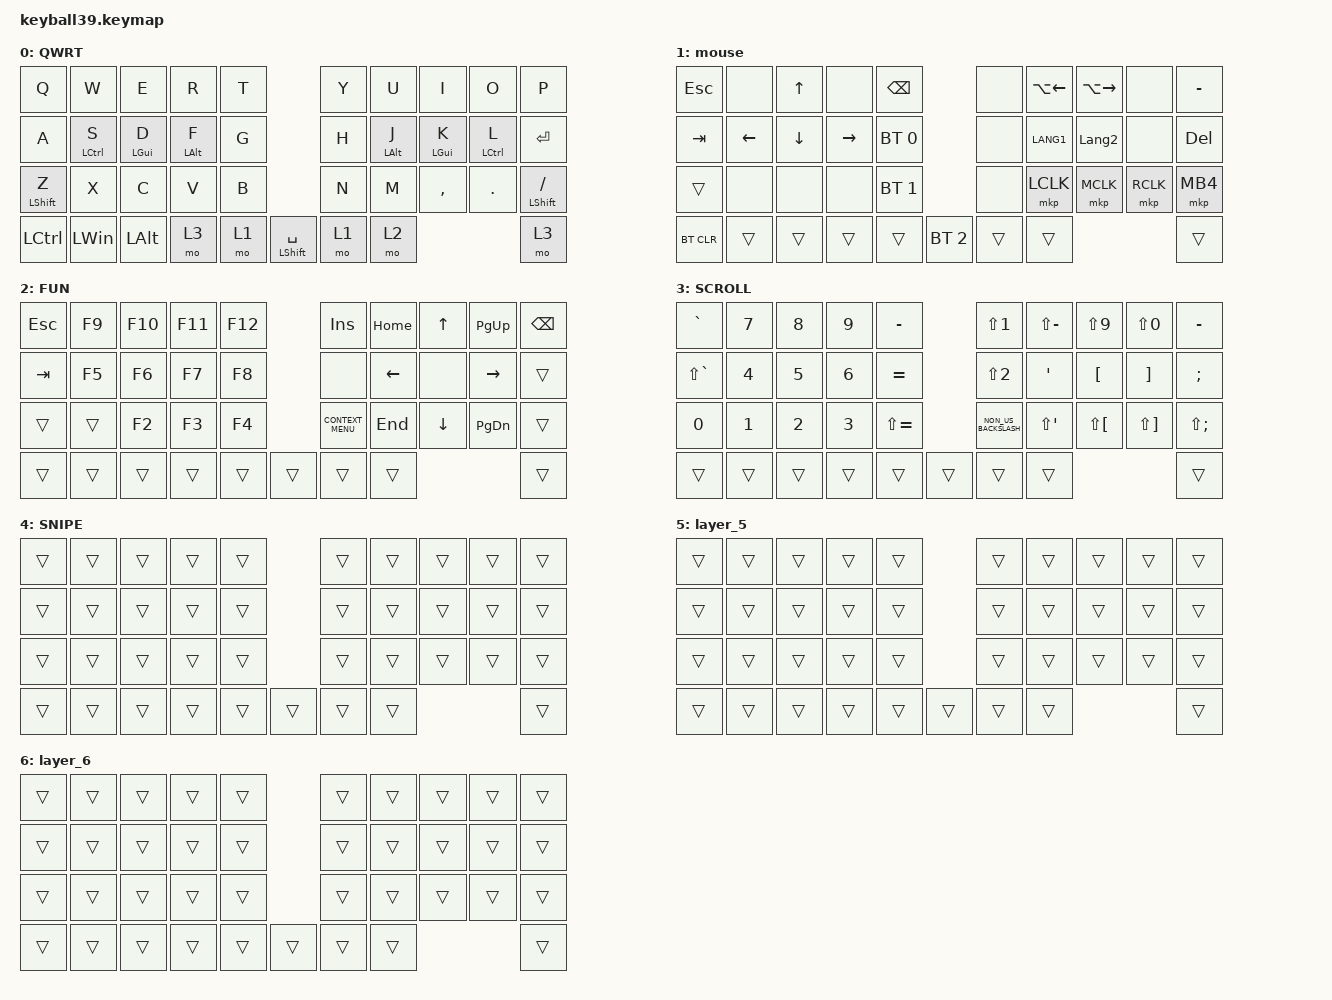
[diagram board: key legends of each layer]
#define DEFAULT 0
#define NUM     1
#define SYM     2
#define FUN     3
#define MOUSE   4
#define SCROLL  5
#define SNIPE   6

#include <behaviors/mouse_keys.dtsi>
#include <dt-bindings/zmk/mouse.h>
#include <behaviors.dtsi>
#include <dt-bindings/zmk/bt.h>
#include <dt-bindings/zmk/keys.h>
#include <dt-bindings/zmk/pointing.h>

&lt {
    tapping-term-ms = <240>;
    flavor = "balanced";
    quick-tap-ms = <150>;
};

&mt {
    tapping-term-ms = <200>;
    flavor = "tap-preferred";
    quick-tap-ms = <150>;
};

&caps_word { continue-list = <UNDERSCORE MINUS>; };

/ {
    // custom shift using mod-morph 

    behaviors {
        cmqus: comma_question {
            compatible = "zmk,behavior-mod-morph";
            label = "COMMA_QUESTION";
            #binding-cells = <0>;
            bindings = <&kp COMMA>, <&kp QUESTION>;

            mods = <(MOD_LSFT|MOD_RSFT)>;
        };

        dtsmi: dot_semi {
            compatible = "zmk,behavior-mod-morph";
            label = "DOT_SEMI";
            #binding-cells = <0>;
            bindings = <&kp DOT>, <&kp SEMI>;

            mods = <(MOD_LSFT|MOD_RSFT)>;
        };
    };

    macros {
        Hiragana: Hiragana {
            compatible = "zmk,behavior-macro";
            #binding-cells = <0>;
            bindings = <&kp LC(SPACE)>;
            label = "HIRAGANA";
        };
    };

    keymap {
        compatible = "zmk,keymap";

        default_layer {
            label = "QWRT";
            bindings = <
&kp Q             &kp W         &kp E           &kp R           &kp T                               &kp Y  &kp U           &kp I           &kp O        &kp P
&kp A             &mt LCTRL S   &mt LEFT_GUI D  &mt LEFT_ALT F  &kp G                               &kp H  &mt LEFT_ALT J  &mt LEFT_GUI K  &mt LCTRL L  &kp ENTER
&mt LEFT_SHIFT Z  &kp X         &kp C           &kp V           &kp B                               &kp N  &kp M           &kp COMMA       &kp DOT      &mt LEFT_SHIFT SLASH
&kp LCTRL         &kp LEFT_WIN  &kp LALT        &mo 3           &mo 1  &mt LEFT_SHIFT SPACE  &mo 1  &mo 2                                               &mo 3
            >;
        };

        mouse {
            label = "mouse";
            bindings = <
&kp ESCAPE  &none           &kp UP_ARROW  &none      &kp BACKSPACE                        &none   &kp LA(LEFT_ARROW)  &kp LA(RIGHT)   &none      &kp MINUS
&kp TAB     &kp LEFT_ARROW  &kp DOWN      &kp RIGHT  &bt BT_SEL 0                         &none   &kp LANG1           &kp LANGUAGE_2  &none      &kp DELETE
&trans      &none           &none         &none      &bt BT_SEL 1                         &none   &mkp LCLK           &mkp MCLK       &mkp RCLK  &mkp MB4
&bt BT_CLR  &trans          &trans        &trans     &trans         &bt BT_SEL 2  &trans  &trans                                                 &trans
            >;
        };

        function_layer {
            label = "FUN";
            bindings = <
&kp ESCAPE  &kp F9  &kp F10  &kp F11  &kp F12                  &kp INS             &kp HOME        &kp UP_ARROW    &kp PAGE_UP    &kp BACKSPACE
&kp TAB     &kp F5  &kp F6   &kp F7   &kp F8                   &none               &kp LEFT_ARROW  &none           &kp RIGHT      &trans
&trans      &trans  &kp F2   &kp F3   &kp F4                   &kp K_CONTEXT_MENU  &kp END         &kp DOWN_ARROW  &kp PAGE_DOWN  &trans
&trans      &trans  &trans   &trans   &trans   &trans  &trans  &trans                                                             &trans
            >;
        };

        scroll_layer {
            label = "SCROLL";
            bindings = <
&kp GRAVE      &kp N7        &kp N8        &kp N9        &kp MINUS                      &kp LS(NUMBER_1)      &kp LS(MINUS)  &kp LS(N9)            &kp LS(N0)             &kp MINUS
&kp LS(GRAVE)  &kp NUMBER_4  &kp N5        &kp NUMBER_6  &kp EQUAL                      &kp LS(NUMBER_2)      &kp SQT        &kp LEFT_BRACKET      &kp RIGHT_BRACKET      &kp SEMICOLON
&kp N0         &kp NUMBER_1  &kp NUMBER_2  &kp NUMBER_3  &kp LS(EQUAL)                  &kp NON_US_BACKSLASH  &kp LS(SQT)    &kp LS(LEFT_BRACKET)  &kp LS(RIGHT_BRACKET)  &kp LS(SEMICOLON)
&trans         &trans        &trans        &trans        &trans         &trans  &trans  &trans                                                                            &trans
            >;
        };

        snipe_layer {
            label = "SNIPE";
            bindings = <
&trans  &trans  &trans  &trans  &trans                  &trans  &trans  &trans  &trans  &trans
&trans  &trans  &trans  &trans  &trans                  &trans  &trans  &trans  &trans  &trans
&trans  &trans  &trans  &trans  &trans                  &trans  &trans  &trans  &trans  &trans
&trans  &trans  &trans  &trans  &trans  &trans  &trans  &trans                          &trans
            >;
        };

        layer_5 {
            bindings = <
&trans  &trans  &trans  &trans  &trans                  &trans  &trans  &trans  &trans  &trans
&trans  &trans  &trans  &trans  &trans                  &trans  &trans  &trans  &trans  &trans
&trans  &trans  &trans  &trans  &trans                  &trans  &trans  &trans  &trans  &trans
&trans  &trans  &trans  &trans  &trans  &trans  &trans  &trans                          &trans
            >;
        };

        layer_6 {
            bindings = <
&trans  &trans  &trans  &trans  &trans                  &trans  &trans  &trans  &trans  &trans
&trans  &trans  &trans  &trans  &trans                  &trans  &trans  &trans  &trans  &trans
&trans  &trans  &trans  &trans  &trans                  &trans  &trans  &trans  &trans  &trans
&trans  &trans  &trans  &trans  &trans  &trans  &trans  &trans                          &trans
            >;
        };
    };
};
